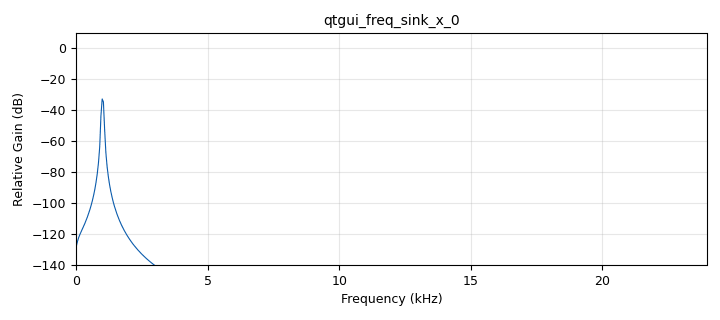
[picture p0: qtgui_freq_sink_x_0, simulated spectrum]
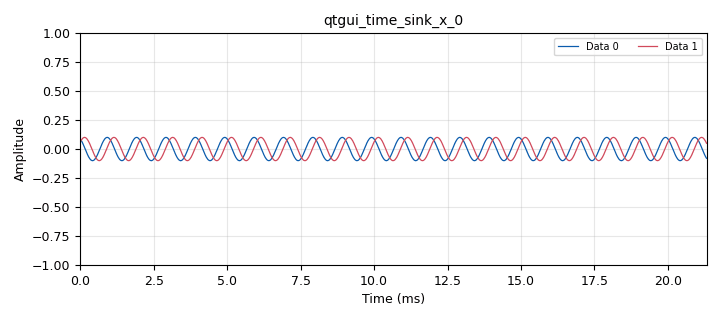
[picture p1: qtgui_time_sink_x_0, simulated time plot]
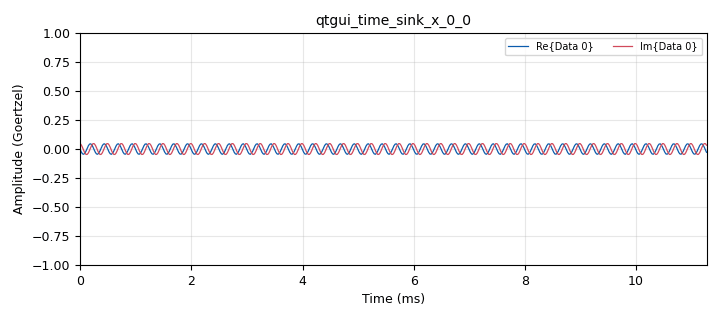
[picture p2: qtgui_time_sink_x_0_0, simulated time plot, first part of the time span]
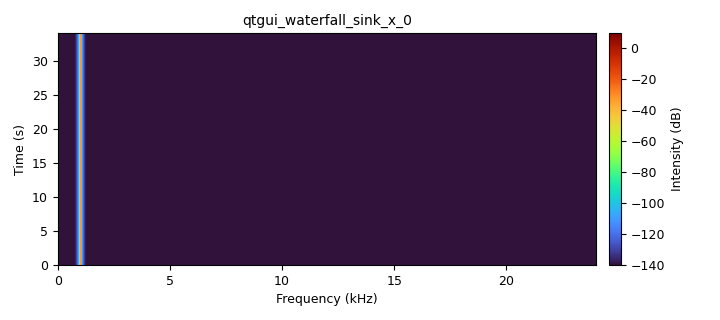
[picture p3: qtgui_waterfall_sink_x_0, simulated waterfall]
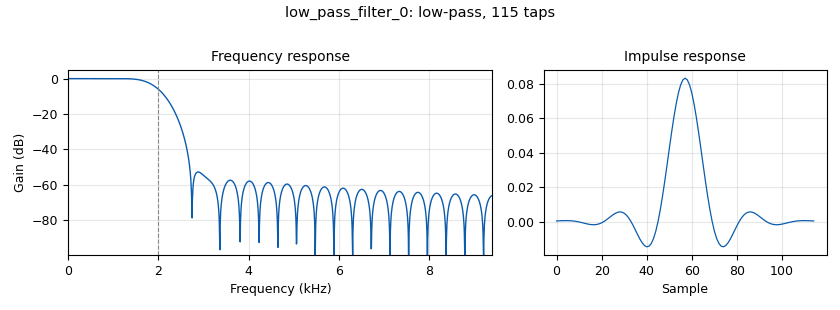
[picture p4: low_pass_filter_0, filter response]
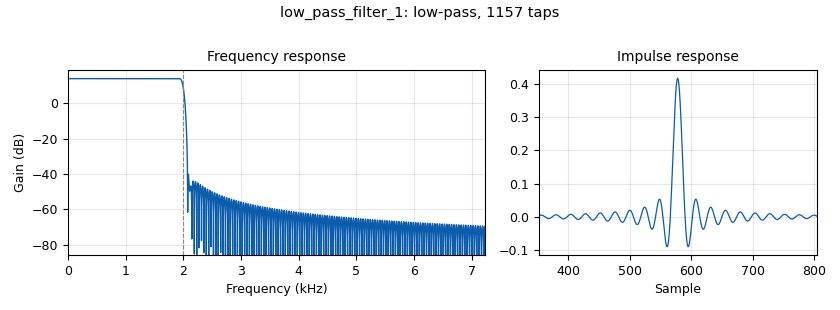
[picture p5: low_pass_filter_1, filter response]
<?xml version='1.0' encoding='utf-8'?>
<?grc format='1' created='3.7.11'?>
<flow_graph>
<block>
<key>options</key>
<param><key>id</key><value>Example1</value></param>
<param><key>category</key><value>Custom</value></param>
<param><key>generate_options</key><value>qt_gui</value></param>
</block>
<block>
<key>variable_qtgui_range</key>
<param><key>id</key><value>amplitude</value></param>
<param><key>value</key><value>0.1</value></param>
<param><key>label</key><value>amplitude</value></param>
<param><key>orient</key><value>Qt.Horizontal</value></param>
<param><key>start</key><value>0</value></param>
<param><key>step</key><value>0.001</value></param>
<param><key>stop</key><value>2</value></param>
</block>
<block>
<key>variable_qtgui_range</key>
<param><key>id</key><value>frequency</value></param>
<param><key>value</key><value>1000</value></param>
<param><key>label</key><value>frequency</value></param>
<param><key>orient</key><value>Qt.Horizontal</value></param>
<param><key>start</key><value>0</value></param>
<param><key>step</key><value>10</value></param>
<param><key>stop</key><value>10e3</value></param>
</block>
<block>
<key>variable_qtgui_range</key>
<param><key>id</key><value>goertzel_len</value></param>
<param><key>value</key><value>100</value></param>
<param><key>label</key><value>goertzel_len</value></param>
<param><key>orient</key><value>Qt.Horizontal</value></param>
<param><key>start</key><value>100</value></param>
<param><key>step</key><value>100</value></param>
<param><key>stop</key><value>10000</value></param>
</block>
<block>
<key>variable_qtgui_range</key>
<param><key>id</key><value>low_pass</value></param>
<param><key>value</key><value>2e3</value></param>
<param><key>label</key><value>low-pass filter</value></param>
<param><key>orient</key><value>Qt.Horizontal</value></param>
<param><key>start</key><value>20</value></param>
<param><key>step</key><value>10</value></param>
<param><key>stop</key><value>1e4</value></param>
</block>
<block>
<key>variable_qtgui_range</key>
<param><key>id</key><value>mult</value></param>
<param><key>value</key><value>1</value></param>
<param><key>label</key><value>mult</value></param>
<param><key>orient</key><value>Qt.Horizontal</value></param>
<param><key>start</key><value>0</value></param>
<param><key>step</key><value>1</value></param>
<param><key>stop</key><value>100</value></param>
</block>
<block>
<key>variable</key>
<param><key>id</key><value>samp_rate</value></param>
<param><key>value</key><value>48000</value></param>
</block>
<block>
<key>analog_const_source_x</key>
<param><key>id</key><value>analog_const_source_x_0</value></param>
<param><key>const</key><value>mult</value></param>
<param><key>type</key><value>float</value></param>
</block>
<block>
<key>analog_sig_source_x</key>
<param><key>id</key><value>analog_sig_source_x_0</value></param>
<param><key>amp</key><value>amplitude</value></param>
<param><key>freq</key><value>frequency</value></param>
<param><key>offset</key><value>0</value></param>
<param><key>type</key><value>float</value></param>
<param><key>samp_rate</key><value>samp_rate</value></param>
<param><key>waveform</key><value>analog.GR_SIN_WAVE</value></param>
</block>
<block>
<key>audio_sink</key>
<param><key>id</key><value>audio_sink_0</value></param>
<param><key>num_inputs</key><value>2</value></param>
<param><key>samp_rate</key><value>samp_rate</value></param>
</block>
<block>
<key>blks2_tcp_sink</key>
<param><key>id</key><value>blks2_tcp_sink_0</value></param>
<param><key>addr</key><value>192.168.1.5</value></param>
<param><key>_enabled</key><value>0</value></param>
<param><key>type</key><value>float</value></param>
<param><key>server</key><value>True</value></param>
<param><key>port</key><value>16000</value></param>
<param><key>vlen</key><value>1</value></param>
</block>
<block>
<key>blocks_multiply_xx</key>
<param><key>id</key><value>blocks_multiply_xx_0</value></param>
<param><key>type</key><value>float</value></param>
</block>
<block>
<key>blocks_udp_sink</key>
<param><key>id</key><value>blocks_udp_sink_0</value></param>
<param><key>ipaddr</key><value>192.168.1.201</value></param>
<param><key>port</key><value>16001</value></param>
<param><key>type</key><value>float</value></param>
<param><key>psize</key><value>1472</value></param>
<param><key>eof</key><value>True</value></param>
<param><key>vlen</key><value>1</value></param>
</block>
<block>
<key>goertzel_fc</key>
<param><key>id</key><value>goertzel_fc_0</value></param>
<param><key>freq</key><value>1100</value></param>
<param><key>len</key><value>goertzel_len</value></param>
<param><key>rate</key><value>samp_rate</value></param>
</block>
<block>
<key>low_pass_filter</key>
<param><key>id</key><value>low_pass_filter_0</value></param>
<param><key>cutoff_freq</key><value>low_pass</value></param>
<param><key>decim</key><value>5</value></param>
<param><key>type</key><value>fir_filter_fff</value></param>
<param><key>gain</key><value>1</value></param>
<param><key>samp_rate</key><value>samp_rate</value></param>
<param><key>width</key><value>1e3</value></param>
<param><key>win</key><value>firdes.WIN_HAMMING</value></param>
</block>
<block>
<key>low_pass_filter</key>
<param><key>id</key><value>low_pass_filter_1</value></param>
<param><key>cutoff_freq</key><value>low_pass</value></param>
<param><key>type</key><value>interp_fir_filter_fff</value></param>
<param><key>gain</key><value>5</value></param>
<param><key>interp</key><value>5</value></param>
<param><key>samp_rate</key><value>samp_rate</value></param>
<param><key>width</key><value>1e2</value></param>
<param><key>win</key><value>firdes.WIN_HAMMING</value></param>
</block>
<block>
<key>qtgui_freq_sink_x</key>
<param><key>id</key><value>qtgui_freq_sink_x_0</value></param>
<param><key>average</key><value>0.2</value></param>
<param><key>bw</key><value>samp_rate</value></param>
<param><key>fc</key><value>0</value></param>
<param><key>fftsize</key><value>1024</value></param>
<param><key>gui_hint</key><value>tab@1</value></param>
<param><key>showports</key><value>True</value></param>
<param><key>freqhalf</key><value>False</value></param>
<param><key>type</key><value>float</value></param>
<param><key>wintype</key><value>firdes.WIN_HANN</value></param>
</block>
<block>
<key>qtgui_time_sink_x</key>
<param><key>id</key><value>qtgui_time_sink_x_0</value></param>
<param><key>gui_hint</key><value>tab@0</value></param>
<param><key>color1</key><value>"blue"</value></param>
<param><key>label1</key><value></value></param>
<param><key>color2</key><value>"red"</value></param>
<param><key>label2</key><value></value></param>
<param><key>nconnections</key><value>2</value></param>
<param><key>size</key><value>1024</value></param>
<param><key>srate</key><value>samp_rate</value></param>
<param><key>type</key><value>float</value></param>
</block>
<block>
<key>qtgui_time_sink_x</key>
<param><key>id</key><value>qtgui_time_sink_x_0_0</value></param>
<param><key>gui_hint</key><value>tab@0</value></param>
<param><key>color1</key><value>"blue"</value></param>
<param><key>label1</key><value></value></param>
<param><key>color2</key><value>"red"</value></param>
<param><key>label2</key><value></value></param>
<param><key>size</key><value>1024</value></param>
<param><key>srate</key><value>samp_rate</value></param>
<param><key>type</key><value>complex</value></param>
<param><key>ylabel</key><value>Amplitude (Goertzel)</value></param>
</block>
<block>
<key>qtgui_waterfall_sink_x</key>
<param><key>id</key><value>qtgui_waterfall_sink_x_0</value></param>
<param><key>bw</key><value>samp_rate</value></param>
<param><key>fc</key><value>0</value></param>
<param><key>fftsize</key><value>8192</value></param>
<param><key>gui_hint</key><value>tab@1</value></param>
<param><key>showports</key><value>True</value></param>
<param><key>freqhalf</key><value>False</value></param>
<param><key>type</key><value>float</value></param>
<param><key>wintype</key><value>firdes.WIN_HANN</value></param>
</block>
<block>
<key>qtgui_tab_widget</key>
<param><key>id</key><value>tab</value></param>
<param><key>label0</key><value>tab0</value></param>
<param><key>label1</key><value>tab1</value></param>
<param><key>num_tabs</key><value>2</value></param>
</block>
<connection><source_block_id>analog_const_source_x_0</source_block_id><sink_block_id>blocks_multiply_xx_0</sink_block_id><source_key>0</source_key><sink_key>1</sink_key></connection>
<connection><source_block_id>analog_sig_source_x_0</source_block_id><sink_block_id>blocks_multiply_xx_0</sink_block_id><source_key>0</source_key><sink_key>0</sink_key></connection>
<connection><source_block_id>blocks_multiply_xx_0</source_block_id><sink_block_id>audio_sink_0</sink_block_id><source_key>0</source_key><sink_key>0</sink_key></connection>
<connection><source_block_id>blocks_multiply_xx_0</source_block_id><sink_block_id>blks2_tcp_sink_0</sink_block_id><source_key>0</source_key><sink_key>0</sink_key></connection>
<connection><source_block_id>blocks_multiply_xx_0</source_block_id><sink_block_id>blocks_udp_sink_0</sink_block_id><source_key>0</source_key><sink_key>0</sink_key></connection>
<connection><source_block_id>blocks_multiply_xx_0</source_block_id><sink_block_id>goertzel_fc_0</sink_block_id><source_key>0</source_key><sink_key>0</sink_key></connection>
<connection><source_block_id>blocks_multiply_xx_0</source_block_id><sink_block_id>low_pass_filter_0</sink_block_id><source_key>0</source_key><sink_key>0</sink_key></connection>
<connection><source_block_id>blocks_multiply_xx_0</source_block_id><sink_block_id>qtgui_freq_sink_x_0</sink_block_id><source_key>0</source_key><sink_key>0</sink_key></connection>
<connection><source_block_id>blocks_multiply_xx_0</source_block_id><sink_block_id>qtgui_time_sink_x_0</sink_block_id><source_key>0</source_key><sink_key>0</sink_key></connection>
<connection><source_block_id>blocks_multiply_xx_0</source_block_id><sink_block_id>qtgui_waterfall_sink_x_0</sink_block_id><source_key>0</source_key><sink_key>0</sink_key></connection>
<connection><source_block_id>goertzel_fc_0</source_block_id><sink_block_id>qtgui_time_sink_x_0_0</sink_block_id><source_key>0</source_key><sink_key>0</sink_key></connection>
<connection><source_block_id>low_pass_filter_0</source_block_id><sink_block_id>low_pass_filter_1</sink_block_id><source_key>0</source_key><sink_key>0</sink_key></connection>
<connection><source_block_id>low_pass_filter_1</source_block_id><sink_block_id>audio_sink_0</sink_block_id><source_key>0</source_key><sink_key>1</sink_key></connection>
<connection><source_block_id>low_pass_filter_1</source_block_id><sink_block_id>qtgui_time_sink_x_0</sink_block_id><source_key>0</source_key><sink_key>1</sink_key></connection>
</flow_graph>
